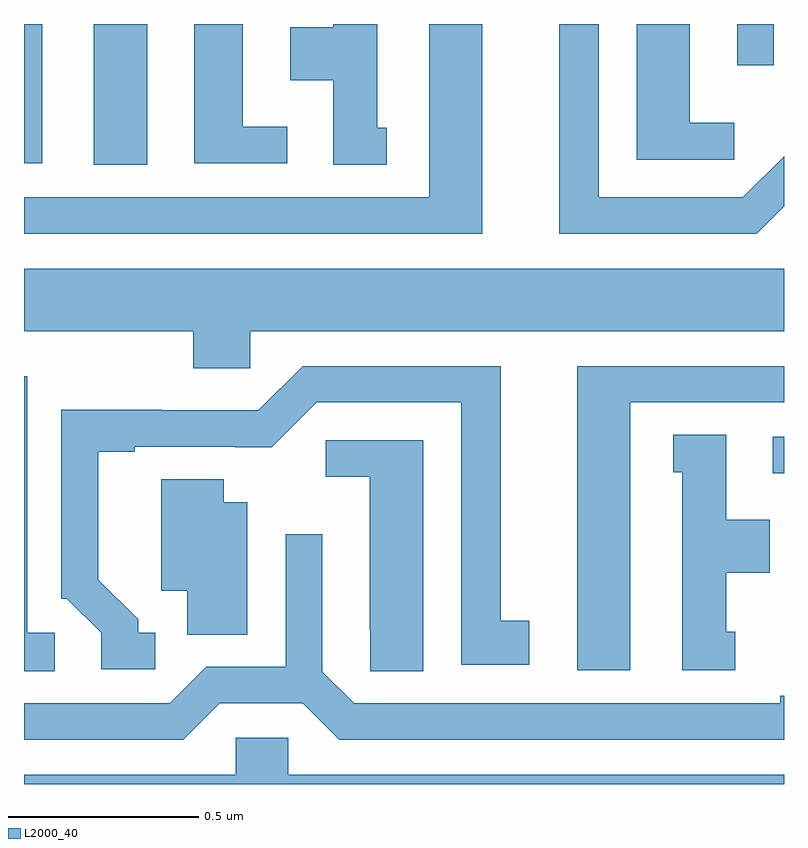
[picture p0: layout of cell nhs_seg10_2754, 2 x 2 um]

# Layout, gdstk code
import gdstk
lib = gdstk.Library(unit=1e-6, precision=1e-09)
def R(c, l, rs):  # rectangles x0, y0, x1, y1
    for r in rs: c.add(gdstk.rectangle(r[:2], r[2:], *l))
def P(c, l, *ps):  # polygons
    for p in ps: c.add(gdstk.Polygon(p, *l))
L2000_40 = (2000, 40)

nhs_seg10_2754 = lib.new_cell('nhs_seg10_2754')
R(nhs_seg10_2754, L2000_40, [(146.97,1257.318,147,1257.414), (145.184,1258.129,145.324,1258.5), (145,1258.133,145.048,1258.5), (146.877,1258.392,146.973,1258.5)])
P(nhs_seg10_2754, L2000_40, [(145.693,1258.23),(145.576,1258.23),(145.576,1258.5),(145.448,1258.5),(145.448,1258.134),(145.693,1258.134)],
  [(145.954,1258.227),(145.93,1258.227),(145.93,1258.5),(145.814,1258.5),(145.814,1258.492),(145.7,1258.492),(145.7,1258.352),(145.814,1258.352),(145.814,1258.129),(145.954,1258.129)],
  [(147,1258.02),(147,1258.152),(146.892,1258.044),(146.512,1258.044),(146.512,1258.5),(146.408,1258.5),(146.408,1257.948),(146.928,1257.948)],
  [(146.206,1258.5),(146.066,1258.5),(146.066,1258.044),(145,1258.044),(145,1257.948),(146.206,1257.948)],
  [(146.869,1258.24),(146.752,1258.24),(146.752,1258.5),(146.612,1258.5),(146.612,1258.143),(146.869,1258.143)],
  [(145.596,1257.692),(147,1257.692),(147,1257.856),(145,1257.856),(145,1257.692),(145.445,1257.692),(145.445,1257.594),(145.596,1257.594)],
  [(145.345,1256.898),(145.3,1256.898),(145.3,1256.933),(145.195,1257.038),(145.195,1257.375),(145.291,1257.375),(145.291,1257.387),(145.556,1257.387),(145.556,1257.386),(145.652,1257.386),(145.77,1257.504),(146.15,1257.504),(146.15,1256.814),(146.329,1256.814),(146.329,1256.93),(146.254,1256.93),(146.254,1257.6),(145.734,1257.6),(145.617,1257.483),(145.361,1257.483),(145.361,1257.485),(145.098,1257.485),(145.098,1256.988),(145.113,1256.988),(145.203,1256.898),(145.203,1256.802),(145.345,1256.802)],
  [(146.596,1257.504),(147,1257.504),(147,1257.6),(146.456,1257.6),(146.456,1256.799),(146.596,1256.799)],
  [(145.081,1256.898),(145.008,1256.898),(145.008,1257.573),(145,1257.573),(145,1256.797),(145.081,1256.797)],
  [(146.872,1256.901),(146.848,1256.901),(146.848,1257.056),(146.962,1257.056),(146.962,1257.196),(146.848,1257.196),(146.848,1257.419),(146.708,1257.419),(146.708,1257.321),(146.732,1257.321),(146.732,1256.799),(146.872,1256.799)],
  [(146.05,1257.405),(145.794,1257.405),(145.794,1257.308),(145.91,1257.308),(145.91,1256.905),(145.911,1256.905),(145.911,1256.797),(146.05,1256.797)],
  [(145.588,1257.241),(145.525,1257.241),(145.525,1257.302),(145.361,1257.302),(145.361,1257.008),(145.43,1257.008),(145.43,1256.893),(145.588,1256.893)],
  [(145.515,1256.712),(145.733,1256.712),(145.829,1256.616),(147,1256.616),(147,1256.732),(146.99,1256.732),(146.99,1256.712),(145.869,1256.712),(145.785,1256.796),(145.785,1257.157),(145.689,1257.157),(145.689,1256.808),(145.479,1256.808),(145.383,1256.712),(145,1256.712),(145,1256.616),(145.419,1256.616)],
  [(147,1256.524),(145.695,1256.524),(145.695,1256.622),(145.557,1256.622),(145.557,1256.524),(145,1256.524),(145,1256.5),(147,1256.5)])

lib.write_gds('nhs_seg10_2754.gds')
